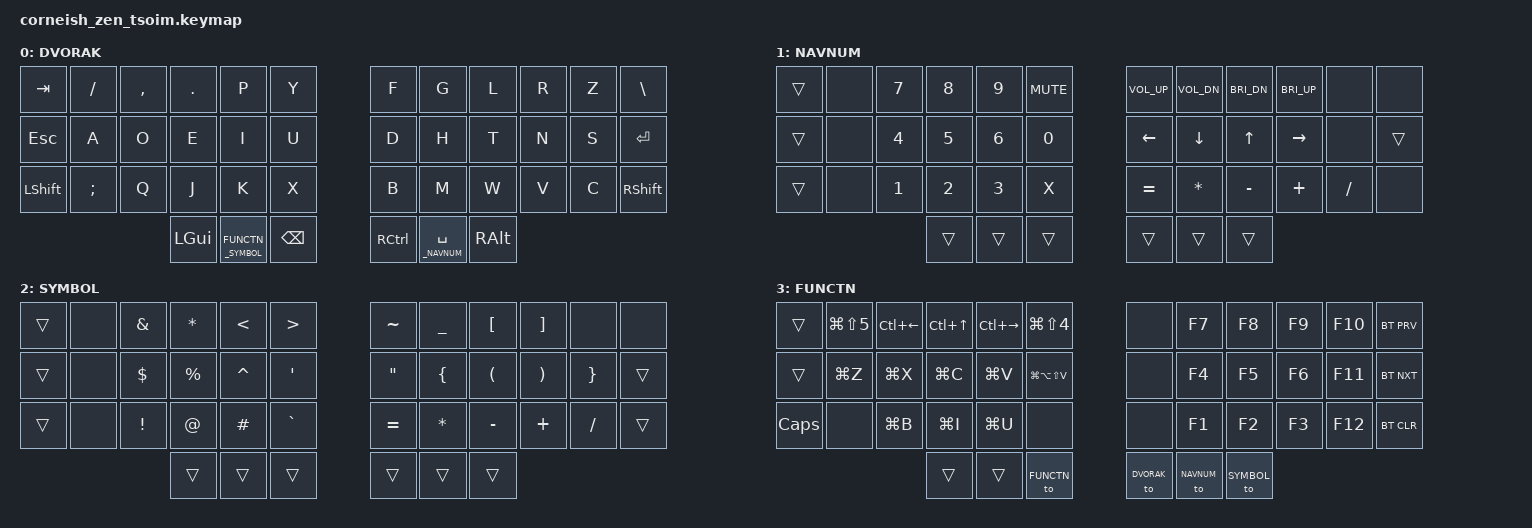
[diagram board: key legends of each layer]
/*
*
* Copyright (c) 2021 Darryl deHaan
* SPDX-License-Identifier: MIT
*
*/

#include <behaviors.dtsi>
#include <dt-bindings/zmk/keys.h>
#include <dt-bindings/zmk/bt.h>

/* layers: higher number means higher precedence */
#define _DVORAK 0
#define _NAVNUM 1
#define _SYMBOL 2
#define _FUNCTN 3

/ {
    chosen {
        zmk,matrix_transform = &default_transform;
    };
};

/ {
        behaviors {
            mosl: momentary_sticky_holdtap {
                compatible = "zmk,behavior-hold-tap";
                label = "MOSLHT";
                #binding-cells = <2>;
                tapping-term-ms = <150>;
                quick-tap-ms = <0>;
                flavor = "hold-preferred";
                bindings = <&mo>, <&sl>;
            };
        };

        keymap {
                compatible = "zmk,keymap";

                default_layer {
                        label = "DVORAK";
// -----------------------------------------------------------------------------------------
// | TAB |  /  |  ,  |  .  |  P  |  Y  |   |  F  |  G  |  L  |  R  |  Z  | \   |
// | ESC |  A  |  O  |  E  |  I  |  U  |   |  D  |  H  |  T  |  N  |  S  | RET |
// | SHF |  ;  |  Q  |  J  |  K  |  X  |   |  B  |  M  |  W  |  V  |  C  | SHF |
//                   | GUI | MSL | BSP |   | CTL | SPC | ALT |
                        bindings = <
    &kp TAB     &kp FSLH    &kp COMMA   &kp DOT     &kp P   &kp Y       &kp F   &kp G   &kp L   &kp R   &kp Z   &kp BSLH
    &kp ESC     &kp A       &kp O       &kp E       &kp I   &kp U       &kp D   &kp H   &kp T   &kp N   &kp S   &kp RET
    &kp LSHFT   &kp SEMI    &kp Q       &kp J       &kp K   &kp X       &kp B   &kp M   &kp W   &kp V   &kp C   &kp RSHFT
                                &kp LGUI    &mosl _SYMBOL _FUNCTN  &kp BSPC      &kp RCTL    &lt _NAVNUM SPACE   &kp RALT
                        >;
                };

                navnum_layer {
                        label = "NAVNUM";
// -----------------------------------------------------------------------------------------
// |     | --- |  7  |  8  |  9  | VLM |   | VLU | VLD | BRD | BRU | --- | --- |
// |     | --- |  4  |  5  |  6  |  0  |   | LFT | DWN |  UP | RGT | --- |     |
// |     | --- |  1  |  2  |  3  |  x  |   |  =  |  *  |  -  |  +  |  /  | --- |
//                   |     |     |     |   |     |     |     |
                        bindings = <
   &trans   &none   &kp N7  &kp N8  &kp N9  &kp C_MUTE  &kp C_VOL_UP    &kp C_VOL_DN    &kp C_BRI_DN    &kp C_BRI_UP    &none       &none
   &trans   &none   &kp N4  &kp N5  &kp N6  &kp N0      &kp LEFT        &kp DOWN        &kp UP          &kp RIGHT       &none       &trans
   &trans   &none   &kp N1  &kp N2  &kp N3  &kp X       &kp EQUAL       &kp ASTRK       &kp MINUS       &kp PLUS        &kp FSLH    &none
                            &trans  &trans  &trans      &trans          &trans          &trans
                        >;
                };

                symbol_layer {
                        label = "SYMBOL";
// -----------------------------------------------------------------------------------------
// |     | --- |  &  |  *  |  <  |  >  |   |  ~  |  _  |  [  |  ]  | --- | --- |
// |     | --- |  $  |  %  |  ^  |  '  |   |  "  |  {  |  (  |  )  |  }  |     |
// |     | --- |  !  |  @  |  #  |  `  |   |  =  |  *  |  -  |  +  |  /  |     |
//                   |     |     |     |   |     |     |     |
                        bindings = <
   &trans   &none   &kp AMPS    &kp ASTRK   &kp LT      &kp GT      &kp TILDE   &kp UNDER   &kp LBKT    &kp RBKT    &none       &none
   &trans   &none   &kp DLLR    &kp PRCNT   &kp CARET   &kp SQT     &kp DQT     &kp LBRC    &kp LPAR    &kp RPAR    &kp RBRC    &trans
   &trans   &none   &kp EXCL    &kp AT      &kp POUND   &kp GRAVE   &kp EQUAL   &kp ASTRK   &kp MINUS   &kp PLUS    &kp FSLH    &trans
                                &trans      &trans      &trans      &trans      &trans      &trans
                        >;
                };

                functn_layer {
                        label = "FUNCTN";
// -----------------------------------------------------------------------------------------
// |     |cmds5| ctl<| ctl^| ctl>|cmds4|   | --- | F7  | F8  | F9  | F10 | BTP |
// |     | cmdz| cmdx| cmdc| cmdv|cmdv*|   | --- | F4  | F5  | F6  | F11 | BTN |
// | CLK | --- | cmdb| cmdi| cmdu| --- |   | --- | F1  | F2  | F3  | F12 | BTC |
//                   |     |     | TO3 |   | TO0 | TO1 | TO2 |
                        bindings = <
   &trans   &kp LG(LS(N5))  &kp LC(LEFT)    &kp LC(UP)  &kp LC(RIGHT)   &kp LG(LS(N4))      &none   &kp F7  &kp F8  &kp F9  &kp F10 &bt BT_PRV
   &trans   &kp LG(Z)       &kp LG(X)       &kp LG(C)   &kp LG(V)       &kp LG(LA(LS(V)))   &none   &kp F4  &kp F5  &kp F6  &kp F11 &bt BT_NXT
   &kp CAPS &none           &kp LG(B)       &kp LG(I)   &kp LG(U)       &none               &none   &kp F1  &kp F2  &kp F3  &kp F12 &bt BT_CLR
                                            &trans      &trans          &to _FUNCTN         &to _DVORAK &to _NAVNUM &to _SYMBOL
                        >;
                };
        };
};
